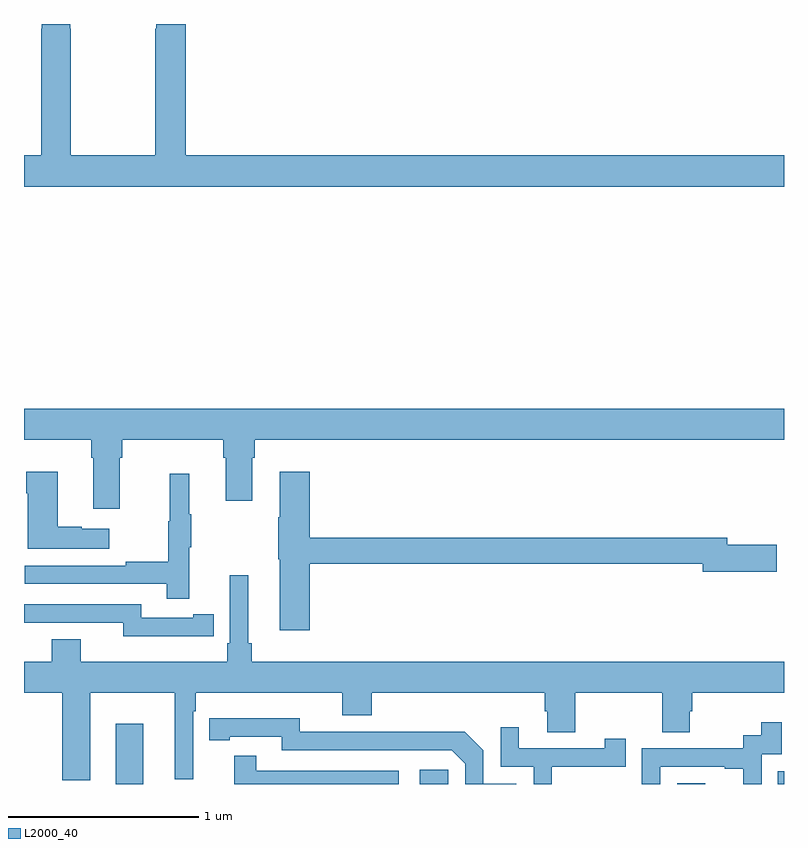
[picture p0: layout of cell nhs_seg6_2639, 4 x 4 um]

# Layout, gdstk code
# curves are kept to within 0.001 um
import gdstk
lib = gdstk.Library(unit=1e-6, precision=1e-09)
def R(c, l, rs):  # rectangles x0, y0, x1, y1
    for r in rs: c.add(gdstk.rectangle(r[:2], r[2:], *l))
def P(c, l, *ps):  # polygons
    for p in ps: c.add(gdstk.Polygon(p, *l))
L2000_40 = (2000, 40)

nhs_seg6_2639 = lib.new_cell('nhs_seg6_2639')
R(nhs_seg6_2639, L2000_40, [(267.482,969.5,267.628,969.817), (269.082,969.5,269.232,969.574), (270.438,969.5,270.586,969.505), (270.967,969.5,271,969.567)])
P(nhs_seg6_2639, L2000_40, [(271,972.808),(267.851,972.808),(267.851,973.5),(267.697,973.5),(267.697,973.475),(267.691,973.475),(267.691,972.808),(267.246,972.808),(267.246,973.475),(267.243,973.475),(267.243,973.5),(267.093,973.5),(267.093,973.475),(267.091,973.475),(267.091,972.808),(267,972.808),(267,972.644),(271,972.644)],
  [(267,971.312),(267.353,971.312),(267.353,971.216),(267.365,971.216),(267.365,970.95),(267.505,970.95),(267.505,971.216),(267.518,971.216),(267.518,971.312),(268.049,971.312),(268.049,971.216),(268.061,971.216),(268.061,970.992),(268.201,970.992),(268.201,971.216),(268.214,971.216),(268.214,971.312),(271,971.312),(271,971.476),(267,971.476)],
  [(268.505,970.66),(270.572,970.66),(270.572,970.618),(270.961,970.618),(270.961,970.76),(270.7,970.76),(270.7,970.796),(268.505,970.796),(268.505,971.143),(268.346,971.143),(268.346,970.904),(268.339,970.904),(268.339,970.683),(268.346,970.683),(268.346,970.308),(268.505,970.308)],
  [(267.448,970.843),(267.305,970.843),(267.305,970.853),(267.178,970.853),(267.178,971.143),(267.013,971.143),(267.013,971.03),(267.02,971.03),(267.02,970.739),(267.448,970.739)],
  [(267.869,970.747),(267.88,970.747),(267.88,970.921),(267.869,970.921),(267.869,971.134),(267.766,971.134),(267.766,970.884),(267.759,970.884),(267.759,970.67),(267.535,970.67),(267.535,970.65),(267.003,970.65),(267.003,970.554),(267.751,970.554),(267.751,970.476),(267.869,970.476)],
  [(267.202,969.519),(267.349,969.519),(267.349,969.98),(267.794,969.98),(267.794,969.525),(267.891,969.525),(267.891,969.884),(267.905,969.884),(267.905,969.98),(268.676,969.98),(268.676,969.863),(268.829,969.863),(268.829,969.98),(269.741,969.98),(269.741,969.882),(269.753,969.882),(269.753,969.772),(269.901,969.772),(269.901,969.98),(270.358,969.98),(270.358,969.772),(270.505,969.772),(270.505,969.882),(270.518,969.882),(270.518,969.98),(271,969.98),(271,970.144),(268.199,970.144),(268.199,970.24),(268.18,970.24),(268.18,970.6),(268.083,970.6),(268.083,970.24),(268.07,970.24),(268.07,970.144),(267.298,970.144),(267.298,970.261),(267.146,970.261),(267.146,970.144),(267,970.144),(267,969.98),(267.202,969.98)],
  [(267.89,970.278),(267.998,970.278),(267.998,970.394),(267.89,970.394),(267.89,970.374),(267.618,970.374),(267.618,970.446),(267,970.446),(267,970.349),(267.062,970.349),(267.062,970.35),(267.522,970.35),(267.522,970.277),(267.89,970.277)],
  [(269.592,969.501),(269.418,969.501),(269.418,969.678),(269.32,969.776),(268.912,969.776),(268.912,969.774),(268.452,969.774),(268.452,969.847),(267.976,969.846),(267.976,969.73),(268.084,969.73),(268.084,969.75),(268.356,969.75),(268.356,969.678),(269.25,969.678),(269.322,969.606),(269.322,969.5)],
  [(270.348,969.591),(270.689,969.591),(270.689,969.579),(270.785,969.579),(270.785,969.5),(270.882,969.5),(270.882,969.657),(270.987,969.657),(270.987,969.826),(270.879,969.826),(270.879,969.756),(270.786,969.756),(270.786,969.687),(270.252,969.687),(270.252,969.5),(270.348,969.5)],
  [(269.778,969.591),(270.167,969.591),(270.167,969.739),(270.056,969.739),(270.056,969.687),(269.605,969.687),(269.605,969.799),(269.508,969.799),(269.508,969.591),(269.682,969.591),(269.682,969.5),(269.778,969.5)],
  [(268.972,969.57),(268.223,969.57),(268.223,969.649),(268.106,969.649),(268.106,969.5),(268.972,969.5)])

lib.write_gds('nhs_seg6_2639.gds')
